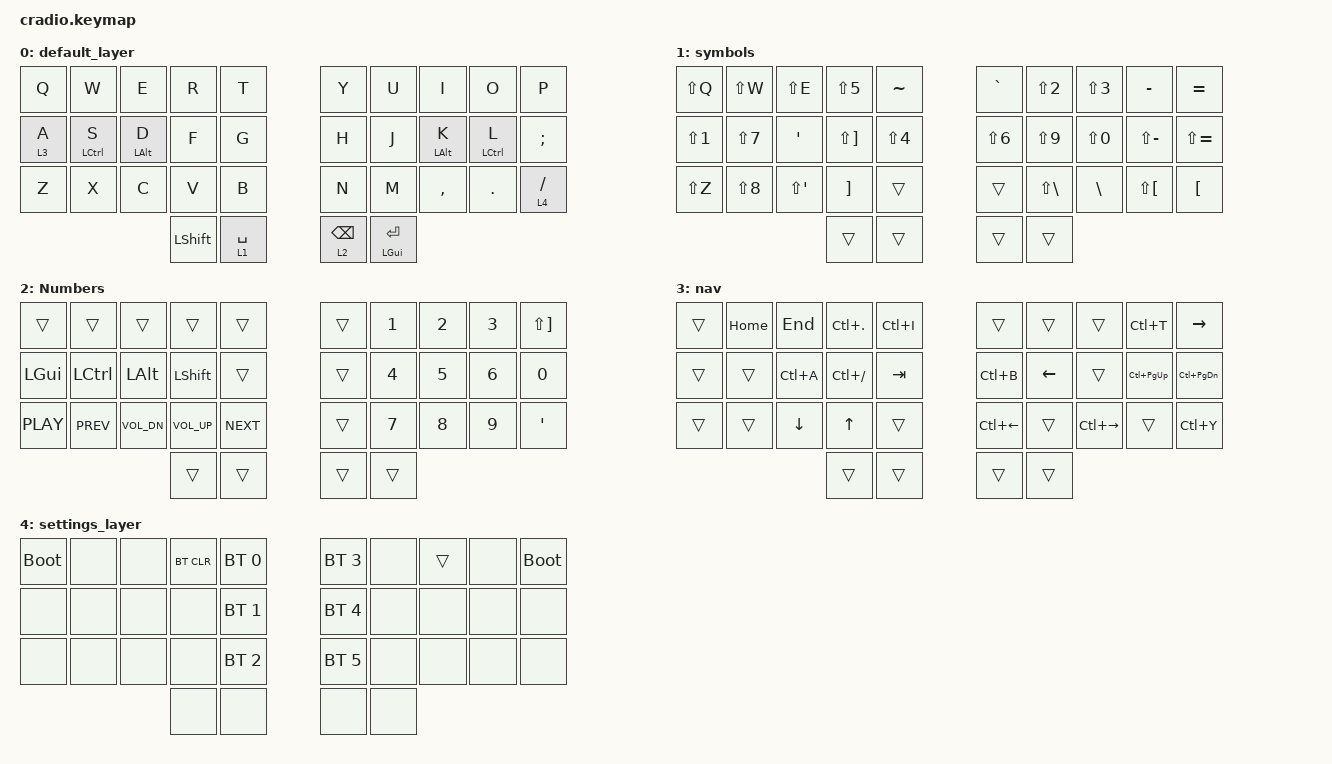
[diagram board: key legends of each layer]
/*
 * Copyright (c) 2020 The ZMK Contributors
 *
 * SPDX-License-Identifier: MIT
 */

#include "keymap_italian.h"
#include <behaviors.dtsi>
#include <dt-bindings/zmk/bt.h>
#include <dt-bindings/zmk/keys.h>
#include <dt-bindings/zmk/mouse.h>

// Layer definitions

#define BASE 0
#define SYM 1
#define EXT 2
#define FNC 3
#define SYM2 4
#define ACCENT 5
#define SETTINGS 6

// These doesn't seems to be right

// -----------------

&mt {
    compatible = "zmk,behavior-hold-tap";
    #binding-cells = <2>;
    flavor = "balanced";
    tapping-term-ms = <145>;
    quick-tap-ms = <150>;  // Increased to make double-taps more reliable
    require-prior-idle-ms = <100>;  // Slightly reduced to improve responsiveness
    hold-trigger-key-positions = <0>;  // This makes hold trigger immediately when another key is pressed
    hold-trigger-on-release;  // This can help with quick layer changes
};

/ {
    macros {
        // sometimes my device thinks a modifier is being held down
        // pressing all modifiers fixes it.

        tmux_l: tmux_l {
            compatible = "zmk,behavior-macro";
            #binding-cells = <0>;
            bindings = <&kp LC(A) &kp L>;
            label = "TMUX_L";
        };

        tmux_h: tmux_h {
            compatible = "zmk,behavior-macro";
            #binding-cells = <0>;
            bindings = <&kp LC(A) &kp J>;
            label = "TMUX_H";
        };

        tmux_j: tmux_j {
            compatible = "zmk,behavior-macro";
            #binding-cells = <0>;
            bindings = <&kp LC(A) &kp C>;
            label = "TMUX_J";
        };

        tmux_k: tmux_k {
            compatible = "zmk,behavior-macro";
            #binding-cells = <0>;
            bindings = <&kp LC(A) &kp V>;
            label = "TMUX_K";
        };

        tmux_cmd: tmux_cmd {
            compatible = "zmk,behavior-macro";
            #binding-cells = <0>;
            bindings = <&kp LC(A) &kp LS(Z)>;
            label = "TMUX_CMD";
        };

        tmux_s: tmux_s {
            compatible = "zmk,behavior-macro";
            #binding-cells = <0>;
            bindings = <&kp LC(A) &kp SEMICOLON>;
            label = "TMUX_S";
        };

        tmux_new_win: tmux_new_win {
            compatible = "zmk,behavior-macro";
            #binding-cells = <0>;
            bindings = <&kp LC(A) &kp I>;
            label = "TMUX_NEW_WIN";
        };

        tmux_split_h: tmux_split_h {
            compatible = "zmk,behavior-macro";
            #binding-cells = <0>;
            bindings = <&kp LC(A) &kp BACKSLASH>;
            label = "TMUX_SPLIT_H";
        };

        tmux_split_v: tmux_split_v {
            compatible = "zmk,behavior-macro";
            #binding-cells = <0>;
            bindings = <&kp LC(A) &kp LS(SQT)>;
            label = "TMUX_SPLIT_V";
        };

        tmux_n_win: tmux_n_win {
            compatible = "zmk,behavior-macro";
            #binding-cells = <0>;
            bindings = <&kp LC(A) &kp L>;
            label = "TMUX_N_WIN";
        };

        tmux_p_w: tmux_p_w {
            compatible = "zmk,behavior-macro";
            #binding-cells = <0>;
            bindings = <&kp LC(A) &kp R>;
            label = "TMUX_P_W";
        };

        tmux_x_win: tmux_x_win {
            compatible = "zmk,behavior-macro";
            #binding-cells = <0>;
            bindings = <&kp LC(A) &kp LS(Z) &kp V &kp G &kp P &kp P &kp SQT &kp COMMA &kp G &kp L &kp H &kp S &kp COMMA &kp ENTER>;
            label = "TMUX_X_WIN";
        };

        tmux_search: tmux_search {
            compatible = "zmk,behavior-macro";
            #binding-cells = <0>;
            bindings = <&kp LC(A) &kp MINUS>;
            label = "TMUX_SEARCH";
        };

        inspect_element: inspect_element {
            compatible = "zmk,behavior-macro";
            #binding-cells = <0>;
            bindings = <&mkp RCLK &kp X>;
            label = "INSPECT_ELEMENT";
        };
    };

    combos {
        compatible = "zmk,combos";

        // both right thumb keys
        // internal-left & external-right thumb keys
        // both left thumb keys

        combo_settings {
            timeout-ms = <300>;
            key-positions = <31 30>;
            bindings = <&mo 4>;
        };

        escape {
            bindings = <&kp ESCAPE>;
            key-positions = <22 23>;
        };

        delete {
            bindings = <&kp DELETE>;
            key-positions = <7 8>;
        };

        Ctrl-a {
            bindings = <&kp LC(A)>;
            key-positions = <26 27>;
        };

        Save {
            bindings = <&kp LC(SEMICOLON)>;
            key-positions = <8 9>;
        };

        Tab {
            bindings = <&kp TAB>;
            key-positions = <1 2>;
        };

        Terminal_V_Mode {
            bindings = <&tmux_search>;
            key-positions = <0 1>;
        };
    };

    behaviors {
    };

    keymap {
        compatible = "zmk,keymap";

        // Base alpha layer

        default_layer {
            bindings = <
&kp Q    &kp W        &kp E           &kp R           &kp T          &kp Y            &kp U               &kp I           &kp O        &kp P
&lt 3 A  &mt LCTRL S  &mt LEFT_ALT D  &kp F           &kp G          &kp H            &kp J               &mt LEFT_ALT K  &mt LCTRL L  &kp SEMI
&kp Z    &kp X        &kp C           &kp V           &kp B          &kp N            &kp M               &kp COMMA       &kp PERIOD   &lt 4 SLASH
                                      &kp LEFT_SHIFT  &lt 1 SPACE    &lt 2 BACKSPACE  &mt LEFT_GUI ENTER
            >;
        };

        symbols {
            bindings = <
&kp LS(Q)         &kp LS(W)   &kp LS(E)     &kp LS(N5)             &kp TILDE           &kp GRAVE         &kp LS(NUMBER_2)   &kp LS(NUMBER_3)  &kp MINUS             &kp EQUAL
&kp LS(NUMBER_1)  &kp LS(N7)  &kp SQT       &kp LS(RIGHT_BRACKET)  &kp LS(NUMBER_4)    &kp LS(NUMBER_6)  &kp LS(N9)         &kp LS(N0)        &kp LS(MINUS)         &kp LS(EQUAL)
&kp LS(Z)         &kp LS(N8)  &kp LS(APOS)  &kp RIGHT_BRACKET      &trans              &trans            &kp LS(BACKSLASH)  &kp BACKSLASH     &kp LS(LEFT_BRACKET)  &kp LBKT
                                            &trans                 &trans              &trans            &trans
            >;
        };

        Numbers {
            bindings = <
&trans        &trans      &trans        &trans        &trans        &trans  &kp NUMBER_1  &kp NUMBER_2  &kp NUMBER_3  &kp LS(RIGHT_BRACKET)
&kp LEFT_GUI  &kp LCTRL   &kp LEFT_ALT  &kp LSHFT     &trans        &trans  &kp NUMBER_4  &kp N5        &kp NUMBER_6  &kp N0
&kp C_PLAY    &kp C_PREV  &kp C_VOL_DN  &kp C_VOL_UP  &kp C_NEXT    &trans  &kp N7        &kp N8        &kp N9        &kp SQT
                                        &trans        &trans        &trans  &trans
            >;
        };

        nav {
            bindings = <
&trans  &kp HOME  &kp END    &kp LC(PERIOD)  &kp LC(I)    &trans              &trans    &trans         &kp LC(T)      &kp RIGHT
&trans  &trans    &kp LC(A)  &kp LC(SLASH)   &kp TAB      &kp LC(B)           &kp LEFT  &trans         &kp LC(PG_UP)  &kp LC(PAGE_DOWN)
&trans  &trans    &kp DOWN   &kp UP_ARROW    &trans       &kp LC(LEFT_ARROW)  &trans    &kp LC(RIGHT)  &trans         &kp LC(Y)
                             &trans          &trans       &trans              &trans
            >;
        };

        settings_layer {
            bindings = <
&bootloader  &none  &none  &bt BT_CLR  &bt BT_SEL 0    &bt BT_SEL 3  &none  &trans  &none  &bootloader
&none        &none  &none  &none       &bt BT_SEL 1    &bt BT_SEL 4  &none  &none   &none  &none
&none        &none  &none  &none       &bt BT_SEL 2    &bt BT_SEL 5  &none  &none   &none  &none
                           &none       &none           &none         &none
            >;
        };
    };
};
